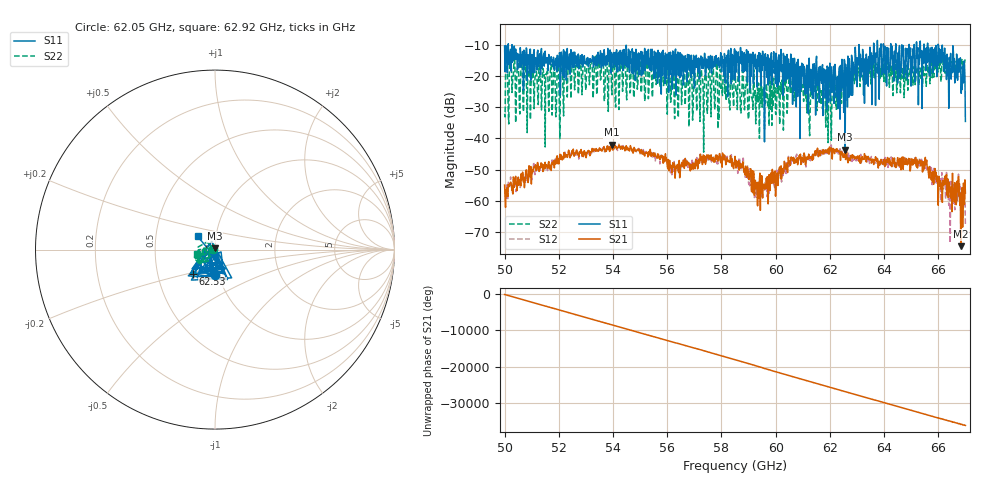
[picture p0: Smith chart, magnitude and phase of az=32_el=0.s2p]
!Created with skrf (http://scikit-rf.org).
# GHz S RI R 50.0
!freq ReS11 ImS11 ReS21 ImS21 ReS12 ImS12 ReS22 ImS22
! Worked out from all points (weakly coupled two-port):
!   1001 points, 50 GHz to 67 GHz, reference 50 ohm
!   highest |S21| = -41.99 dB at 53.94 GHz (marker M1); lowest = -74.6 dB at 66.83 GHz (marker M2)
!   lowest |S11| = -43.6 dB at 62.56 GHz (marker M3), VSWR 1.01, Z = 49.9 + j0.648 ohm
!   |S11| at or under -10 dB: 50.27 GHz to 63.07 GHz (12.8 GHz wide, 22.6 % of centre); 63.07 GHz to 63.62 GHz (542.4 MHz wide, 0.856 % of centre); 66 GHz to end of sweep (the widest 3 of 17)
!   |S22| runs from -44.4 to -13.4 dB; largest |S21 - S12| = 0.0023
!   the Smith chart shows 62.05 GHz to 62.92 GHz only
!   S11 on the Smith chart (normalised r, x): 62.05 GHz: 0.97, -0.28; 62.53 GHz: 0.76, -0.21; 62.92 GHz: 0.82, +0.12
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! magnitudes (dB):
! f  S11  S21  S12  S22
! 50 GHz  -10.4  -55.0  -57.3  -32.1
! 50.29 GHz  -15.6  -55.4  -57.4  -22.8
! 50.49 GHz  -12.9  -53.0  -52.5  -14.9
! 51.77 GHz  -14.9  -47.8  -48.1  -28.3
! 51.95 GHz  -13.4  -48.1  -47.0  -15.2
! 52.84 GHz  -14.4  -44.7  -45.0  -22.2
! 53.94 GHz  -12.5  -42.0  -42.8  -23.5
! 55.68 GHz  -13.7  -45.2  -45.9  -17.8
! 56.34 GHz  -13.1  -49.5  -49.0  -16.7
! 56.68 GHz  -18.7  -48.6  -46.7  -24.3
! 56.88 GHz  -13.4  -50.0  -47.9  -18.1
! 58.5 GHz  -21.3  -45.8  -46.8  -18.7
! 59.52 GHz  -12.1  -59.1  -55.6  -24.0
! 61.34 GHz  -26.1  -46.4  -45.3  -23.6
! 62.05 GHz  -17.1  -43.1  -42.1  -40.6
! 62.53 GHz  -14.7  -46.0  -45.0  -18.9
! 62.56 GHz  -43.6  -44.8  -45.7  -19.8
! 62.92 GHz  -18.3  -46.6  -46.1  -19.7
! 64.18 GHz  -18.8  -47.1  -46.3  -19.6
! 65.52 GHz  -13.1  -46.1  -47.9  -19.3
! 66.83 GHz  -19.2  -74.6  -55.7  -17.2
! 67 GHz  -34.6  -57.6  -68.0  -14.7
